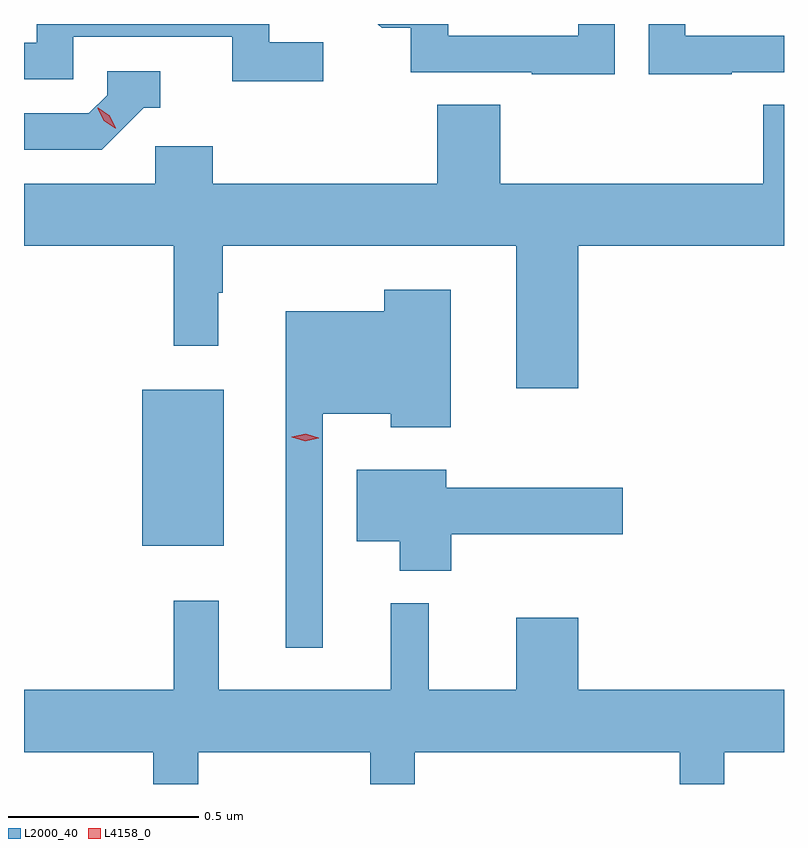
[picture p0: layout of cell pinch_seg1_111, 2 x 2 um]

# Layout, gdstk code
import gdstk
lib = gdstk.Library(unit=1e-6, precision=1e-09)
def R(c, l, rs):  # rectangles x0, y0, x1, y1
    for r in rs: c.add(gdstk.rectangle(r[:2], r[2:], *l))
def P(c, l, *ps):  # polygons
    for p in ps: c.add(gdstk.Polygon(p, *l))
L2000_40 = (2000, 40)
L4158_0 = (4158, 0)

pinch_seg1_111 = lib.new_cell('pinch_seg1_111')
R(pinch_seg1_111, L2000_40, [(1039.148,548.279,1039.363,548.689)])
P(pinch_seg1_111, L2000_40, [(1039.624,549.604),(1039.482,549.604),(1039.482,549.652),(1038.87,549.652),(1038.87,549.603),(1038.837,549.603),(1038.837,549.507),(1038.966,549.507),(1038.966,549.618),(1039.385,549.618),(1039.385,549.502),(1039.624,549.502)],
  [(1040.699,549.525),(1040.837,549.525),(1040.837,549.621),(1040.577,549.621),(1040.577,549.652),(1040.481,549.652),(1040.481,549.52),(1040.699,549.52)],
  [(1040.391,549.652),(1040.295,549.652),(1040.295,549.621),(1039.953,549.621),(1039.953,549.652),(1039.768,549.652),(1039.778,549.642),(1039.855,549.642),(1039.855,549.525),(1040.173,549.525),(1040.173,549.52),(1040.391,549.52)],
  [(1039.152,549.432),(1039.195,549.432),(1039.195,549.528),(1039.056,549.528),(1039.056,549.465),(1039.008,549.417),(1038.837,549.417),(1038.837,549.321),(1039.041,549.321)],
  [(1039.231,548.805),(1039.348,548.805),(1039.348,548.945),(1039.36,548.945),(1039.36,549.068),(1040.132,549.068),(1040.132,548.694),(1040.296,548.694),(1040.296,549.068),(1040.837,549.068),(1040.837,549.44),(1040.783,549.44),(1040.783,549.232),(1040.09,549.232),(1040.09,549.44),(1039.925,549.44),(1039.925,549.232),(1039.334,549.232),(1039.334,549.33),(1039.182,549.33),(1039.182,549.232),(1038.837,549.232),(1038.837,549.068),(1039.231,549.068)],
  [(1039.623,548.627),(1039.802,548.627),(1039.802,548.591),(1039.96,548.591),(1039.96,548.953),(1039.785,548.953),(1039.785,548.896),(1039.526,548.896),(1039.526,548.01),(1039.623,548.01)],
  [(1039.961,548.309),(1040.413,548.309),(1040.413,548.431),(1039.948,548.431),(1039.948,548.479),(1039.712,548.479),(1039.712,548.291),(1039.826,548.291),(1039.826,548.213),(1039.961,548.213)],
  [(1039.295,547.736),(1039.748,547.736),(1039.748,547.652),(1039.865,547.652),(1039.865,547.736),(1040.563,547.736),(1040.563,547.652),(1040.68,547.652),(1040.68,547.736),(1040.837,547.736),(1040.837,547.9),(1040.296,547.9),(1040.296,548.089),(1040.132,548.089),(1040.132,547.9),(1039.902,547.9),(1039.902,548.128),(1039.802,548.128),(1039.802,547.9),(1039.349,547.9),(1039.349,548.134),(1039.231,548.134),(1039.231,547.9),(1038.837,547.9),(1038.837,547.736),(1039.177,547.736),(1039.177,547.652),(1039.295,547.652)])
P(pinch_seg1_111, L4158_0, [(1039.077,549.378),(1039.047,549.398),(1039.031,549.43),(1039.031,549.431),(1039.032,549.431),(1039.062,549.411),(1039.078,549.378),(1039.078,549.378)],
  [(1039.577,548.554),(1039.542,548.565),(1039.541,548.566),(1039.542,548.566),(1039.578,548.574),(1039.613,548.563),(1039.613,548.563),(1039.613,548.562)])

lib.write_gds('pinch_seg1_111.gds')
